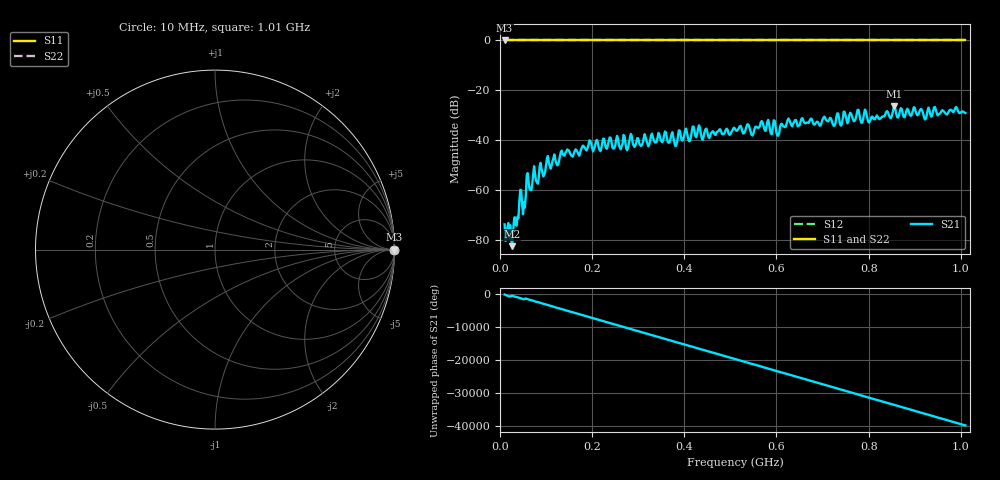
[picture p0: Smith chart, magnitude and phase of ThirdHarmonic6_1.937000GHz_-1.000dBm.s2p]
! 8/16/2025 11:20:29 PM
! C:\ANRITSUVNA\TEMP\TEMP.S2P
! CHANNEL.1
! TR.MEASUREMENT
! RAW.DATA
! RF.CORRECTION.OFF
! AVERAGING.OFF
! IF.BANDWIDTH: 5KHZ
! SWEEPTYPE:  FREQ.SWEEP(Linear)
! Reference Plane Port Info
! PORT:  PORT1  PORT2
! DISTANCE:  0  m  0  m
! TIME:  0  s  0  s
! PHASE.OFFSET:  0  deg.  0  deg.
! LOSS:  0  dB  0  dB
! REF.LOSS:  0  dB  0  dB
! REF.FREQ:  0  Hz  0  Hz
! Power Info
! POWER:  -20  dBm  -20  dBm
! EFF.POWER:  -20  dBm  -20  dBm
! SOURCE.ATTEN:  0  dB  0  dB
! TEST.ATTEN:  0  dB  0  dB
# GHZ S RI R 50.0
! FREQ.GHZ  S11RE  S11IM  S21RE  S21IM  S12RE  S12IM  S22RE  S22IM
!; PortSelection: Port_12
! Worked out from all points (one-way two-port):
!   501 points, 10 MHz to 1.01 GHz, reference 50 ohm
!   highest |S21| = -26.32 dB at 856 MHz (marker M1); lowest = -82.4 dB at 26 MHz (marker M2)
!   lowest |S11| = 0.0 dB at 10 MHz (marker M3)
!   |S11| at or under -10 dB: nowhere
!   |S22| runs from 0.0 to 0.0 dB; largest |S21 - S12| = 1
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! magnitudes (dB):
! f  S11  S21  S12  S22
! 10 MHz  0.0  -73.7  0.0  0.0
! 26 MHz  0.0  -82.4  0.0  0.0
! 38 MHz  0.0  -70.7  0.0  0.0
! 44 MHz  0.0  -59.8  0.0  0.0
! 52 MHz  0.0  -64.8  0.0  0.0
! 60 MHz  0.0  -53.1  0.0  0.0
! 66 MHz  0.0  -59.9  0.0  0.0
! 104 MHz  0.0  -46.3  0.0  0.0
! 178 MHz  0.0  -42.8  0.0  0.0
! 344 MHz  0.0  -37.0  0.0  0.0
! 382 MHz  0.0  -42.2  0.0  0.0
! 420 MHz  0.0  -34.5  0.0  0.0
! 510 MHz  0.0  -35.4  0.0  0.0
! 538 MHz  0.0  -33.5  0.0  0.0
! 548 MHz  0.0  -38.1  0.0  0.0
! 568 MHz  0.0  -32.3  0.0  0.0
! 604 MHz  0.0  -38.1  0.0  0.0
! 626 MHz  0.0  -31.3  0.0  0.0
! 678 MHz  0.0  -32.2  0.0  0.0
! 844 MHz  0.0  -29.9  0.0  0.0
! 856 MHz  0.0  -26.3  0.0  0.0
! 1.01 GHz  0.0  -29.1  0.0  0.0
